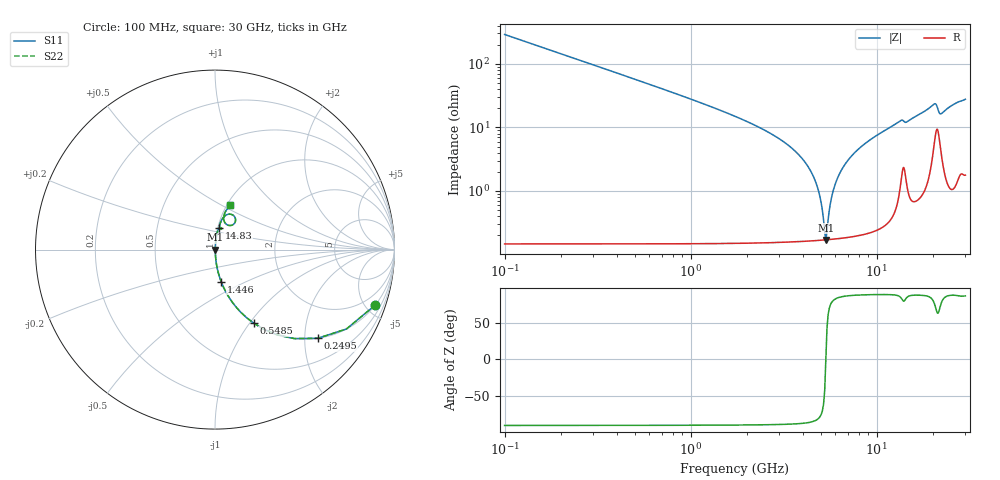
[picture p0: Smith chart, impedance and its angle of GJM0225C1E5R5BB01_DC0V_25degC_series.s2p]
!Murata Part Number: GJM0225C1E5R5BB01
!These Parameters are Measured in Series Mode Connection
!  o--ll--o
!Port1  Port2
!  o------o
!Operation Temp=25[degC], DC Bias Voltage=0[V]
!Freq. Start=100[MHz] Stop=30[GHz], 401[Steps]
!Data Generated on Feb 1, 2023
# Hz S RI R 50
!Freq.(Hz) S11(Real) S11(Imag) S21(Real) S21(Imag) S12(Real) S12(Imag) S22(Real) S22(Imag)
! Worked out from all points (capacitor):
!   401 points, 100 MHz to 30 GHz, reference 50 ohm
!   read as one part in series: C = 5.5 pF near 249.5 MHz
!   lowest |Z| = 170 mohm at 5.332 GHz (marker M1)
!   series resonance near 5.333 GHz, so ESL is about 160 pH
!   S11 on the Smith chart (normalised r, x): 100 MHz: 1.00, -5.79; 249.5 MHz: 1.00, -2.31; 548.5 MHz: 1.00, -1.04; 1.446 GHz: 1.00, -0.37; 14.83 GHz: 1.02, +0.25; 30 GHz: 1.04, +0.55
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1e8  0.8931 -0.3087  0.1069 0.3087  0.1069 0.3087  0.8931 -0.3087
2.495e8  0.5724 -0.4941  0.4276 0.4941  0.4276 0.4941  0.5724 -0.4941
5.485e8  0.2148 -0.4093  0.7852 0.4093  0.7852 0.4093  0.2148 -0.4093
8.475e8  0.1008 -0.2989  0.8992 0.2989  0.8992 0.2989  0.1008 -0.2989
1.4455e9  0.0346 -0.1788  0.9654 0.1788  0.9654 0.1788  0.0346 -0.1788
4.21125e9  0.00229 -0.0258  0.9977 0.0258  0.9977 0.0258  0.00229 -0.0258
4.7345e9  0.00183 -0.0129  0.9982 0.0129  0.9982 0.0129  0.00183 -0.0129
5.10825e9  0.00171 -0.00467  0.9983 0.00467  0.9983 0.00467  0.00171 -0.00467
5.25775e9  0.0017 -0.00153  0.9983 0.00153  0.9983 0.00153  0.0017 -0.00153
5.3325e9  0.0017 -2.37e-07  0.9983 2.37e-07  0.9983 2.37e-07  0.0017 -2.37e-07
5.40725e9  0.00171 0.00151  0.9983 -0.00151  0.9983 -0.00151  0.00171 0.00151
5.85575e9  0.00185 0.0102  0.9982 -0.0102  0.9982 -0.0102  0.00185 0.0102
6.60325e9  0.00237 0.0235  0.9976 -0.0235  0.9976 -0.0235  0.00237 0.0235
7.94875e9  0.00399 0.0448  0.996 -0.0448  0.996 -0.0448  0.00399 0.0448
1.01165e10  0.00817 0.0754  0.9918 -0.0754  0.9918 -0.0754  0.00817 0.0754
1.34055e10  0.0268 0.1217  0.9732 -0.1217  0.9732 -0.1217  0.0268 0.1217
1.482575e10  0.0244 0.1223  0.9756 -0.1223  0.9756 -0.1223  0.0244 0.1223
1.505e10  0.0242 0.1263  0.9758 -0.1263  0.9758 -0.1263  0.0242 0.1263
2.005825e10  0.0786 0.1975  0.9214 -0.1975  0.9214 -0.1975  0.0786 0.1975
2.200175e10  0.0674 0.1383  0.9326 -0.1383  0.9326 -0.1383  0.0674 0.1383
2.50665e10  0.0538 0.2024  0.9462 -0.2024  0.9462 -0.2024  0.0538 0.2024
3e10  0.085 0.2486  0.915 -0.2486  0.915 -0.2486  0.085 0.2486
